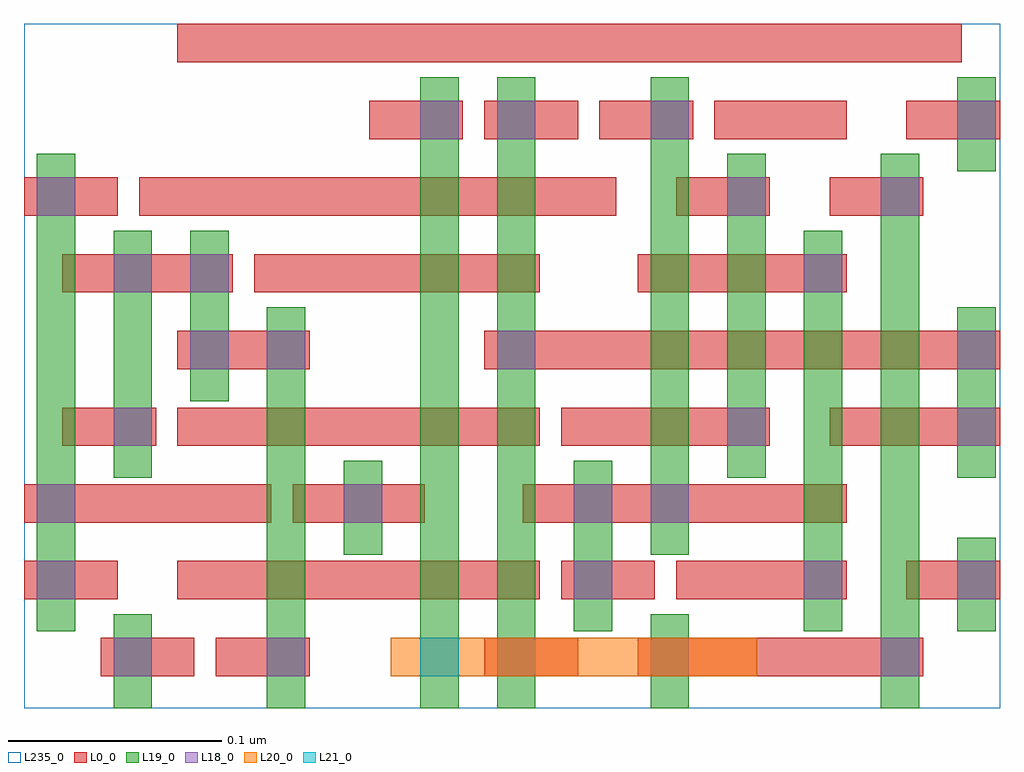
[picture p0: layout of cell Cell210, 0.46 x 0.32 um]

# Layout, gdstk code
import gdstk
lib = gdstk.Library(unit=1e-6, precision=2.5e-10)
def R(c, l, rs):  # rectangles x0, y0, x1, y1
    for r in rs: c.add(gdstk.rectangle(r[:2], r[2:], *l))
def A(c, l, x, y, w, h, nx, ny, dx, dy):  # array of equal rectangles
    R(c, l, [(x+i*dx, y+j*dy, x+i*dx+w, y+j*dy+h) for i in range(nx) for j in range(ny)])
L0_0 = (0, 0)
L18_0 = (18, 0)
L19_0 = (19, 0)
L20_0 = (20, 0)
L21_0 = (21, 0)
L235_0 = (235, 0)

cell210 = lib.new_cell('Cell210')
A(cell210, L0_0, 0.166, 0.251, 0.044, 0.018, 3, 1, 0.054, 0)
R(cell210, L0_0, [(0.04,-0.001,0.084,0.017), (0.094,-0.001,0.138,0.017), (0.22,-0.001,0.264,0.017), (0.292,-0.001,0.426,0.017), (0.004,0.035,0.048,0.053), (0.076,0.035,0.246,0.053), (0.256,0.035,0.3,0.053), (0.31,0.035,0.39,0.053), (0.418,0.035,0.462,0.053), (0.004,0.071,0.12,0.089), (0.13,0.071,0.192,0.089), (0.238,0.071,0.39,0.089), (0.022,0.107,0.066,0.125), (0.076,0.107,0.246,0.125), (0.256,0.107,0.354,0.125), (0.382,0.107,0.462,0.125), (0.076,0.143,0.138,0.161), (0.22,0.143,0.462,0.161), (0.022,0.179,0.102,0.197), (0.112,0.179,0.246,0.197), (0.292,0.179,0.39,0.197), (0.004,0.215,0.048,0.233), (0.058,0.215,0.282,0.233), (0.31,0.215,0.354,0.233), (0.382,0.215,0.426,0.233), (0.328,0.251,0.39,0.269), (0.418,0.251,0.462,0.269), (0.076,0.287,0.444,0.305)])
R(cell210, L18_0, [(0.046,-0.001,0.064,0.017), (0.118,-0.001,0.136,0.017), (0.226,-0.001,0.244,0.017), (0.298,-0.001,0.316,0.017), (0.406,-0.001,0.424,0.017), (0.01,0.035,0.028,0.053), (0.262,0.035,0.28,0.053), (0.37,0.035,0.388,0.053), (0.442,0.035,0.46,0.053), (0.01,0.071,0.028,0.089), (0.154,0.071,0.172,0.089), (0.262,0.071,0.28,0.089), (0.298,0.071,0.316,0.089), (0.046,0.107,0.064,0.125), (0.334,0.107,0.352,0.125), (0.442,0.107,0.46,0.125), (0.082,0.143,0.1,0.161), (0.118,0.143,0.136,0.161), (0.226,0.143,0.244,0.161), (0.442,0.143,0.46,0.161), (0.046,0.179,0.064,0.197), (0.082,0.179,0.1,0.197), (0.37,0.179,0.388,0.197), (0.01,0.215,0.028,0.233), (0.334,0.215,0.352,0.233), (0.406,0.215,0.424,0.233), (0.19,0.251,0.208,0.269), (0.226,0.251,0.244,0.269), (0.298,0.251,0.316,0.269), (0.442,0.251,0.46,0.269)])
R(cell210, L19_0, [(0.046,-0.016,0.064,0.028), (0.118,-0.016,0.136,0.172), (0.19,-0.016,0.208,0.28), (0.226,-0.016,0.244,0.28), (0.298,-0.016,0.316,0.028), (0.406,-0.016,0.424,0.244), (0.01,0.02,0.028,0.244), (0.262,0.02,0.28,0.1), (0.37,0.02,0.388,0.208), (0.442,0.02,0.46,0.064), (0.154,0.056,0.172,0.1), (0.298,0.056,0.316,0.28), (0.046,0.092,0.064,0.208), (0.334,0.092,0.352,0.244), (0.442,0.092,0.46,0.172), (0.082,0.128,0.1,0.208), (0.442,0.236,0.46,0.28)])
R(cell210, L20_0, [(0.176,-0.001,0.348,0.017)])
R(cell210, L21_0, [(0.19,-0.001,0.208,0.017)])
R(cell210, L235_0, [(0.004,-0.016,0.462,0.305)])

lib.write_gds('Cell210.gds')
